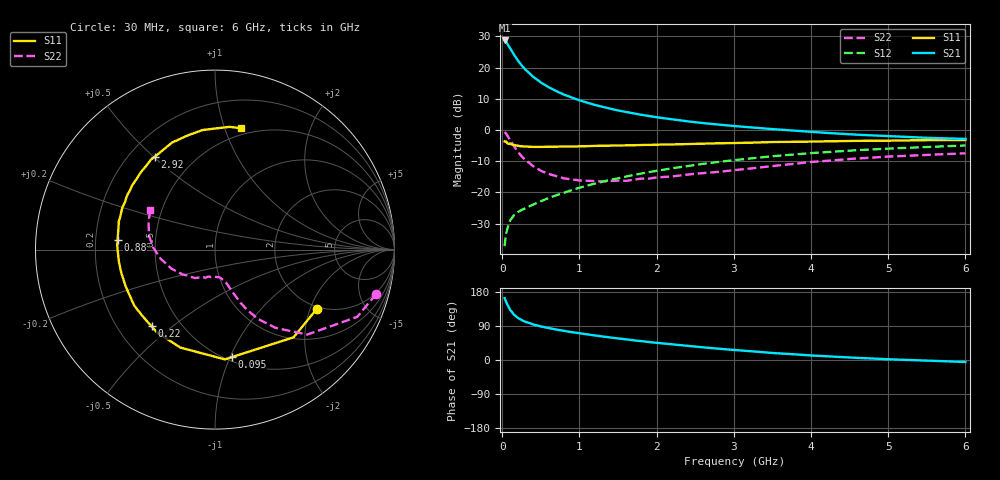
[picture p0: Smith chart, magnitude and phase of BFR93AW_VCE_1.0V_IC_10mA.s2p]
! Infineon Technologies  Discrete & RF Semiconductors
! BFR93AW
! VCE =  1.0 V,  IC =  10 mA
! Common Emitter S-Parameters:  Nov 2015
# GHz  S  MA  R  50
!  f  S11  S21  S12  S22
! GHz  MAG  ANG  MAG  ANG  MAG  ANG  MAG  ANG
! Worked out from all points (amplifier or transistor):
!   206 points, 30 MHz to 6 GHz, reference 50 ohm
!   highest |S21| = 28.7 dB at 30 MHz (marker M1)
!   |S21| within 3 dB of that: start of sweep to 114.9 MHz
!   unconditionally stable (mu >= 1): 687.2 MHz to 2.673 GHz
!   at 200 MHz: K = 0.50, MSG = 24.3 dB, |S12| = -26.3 dB
!   at 1.56 GHz: K = 1.08, MAG = 8.8 dB, |S12| = -15.1 dB
!   at 6 GHz: K = 0.97, MSG = 1.0 dB, |S12| = -4.9 dB
!   S11 on the Smith chart (normalised r, x): 30 MHz: 1.91, -2.22; 95 MHz: 0.53, -1.01; 220 MHz: 0.34, -0.42; 880 MHz: 0.30, +0.04; 2.92 GHz: 0.30, +0.50; 6 GHz: 0.44, +1.14
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0.03  0.6557 -30.4  27.21 163.2  0.0138 74.3  0.9315 -15.4
0.05  0.6563 -48.1  25.86 152.1  0.0221 68.4  0.8764 -25.3
0.095  0.6065 -81.2  21.08 134.6  0.034 58.6  0.7134 -40.5
0.1  0.6141 -84.9  20.7 132.2  0.0354 57.9  0.6992 -42.6
0.15  0.5789 -109.5  16.19 119.6  0.0431 50.5  0.5508 -52.3
0.2  0.5633 -124.9  13.1 111.2  0.0485 48.2  0.4515 -58.4
0.22  0.5545 -129.6  12.19 109.1  0.0501 48.2  0.4221 -59.7
0.26  0.5474 -138.6  10.54 104.4  0.0531 48.5  0.3689 -62.4
0.3  0.5475 -145.3  9.267 100.6  0.0561 49.4  0.3305 -64.3
0.4  0.5383 -157.5  7.106 93.7  0.0638 51.3  0.2635 -67.1
0.5  0.5378 -166.2  5.771 88.4  0.0725 53.6  0.2223 -69.5
0.6  0.5396 -172.3  4.847 84.1  0.0814 55.8  0.1982 -71.1
0.7  0.5412 -177.8  4.199 80.2  0.0902 57.8  0.182 -73.5
0.88  0.5451 174.4  3.378 74.2  0.1075 59.5  0.1632 -78.2
1.04  0.5492 168.5  2.886 69.3  0.123 60.6  0.1549 -83.2
1.5  0.567 155.4  2.056 56.9  0.1694 61.0  0.1552 -99.1
2.02  0.5839 142.1  1.59 44.8  0.2244 58.6  0.175 -115.9
2.92  0.6168 123.0  1.185 27.9  0.3208 51.4  0.2216 -140.6
3.1  0.622 119.4  1.133 25.0  0.339 49.5  0.2338 -145.6
4.1  0.6565 101.8  0.917 11.0  0.4353 38.5  0.314 -173.1
5.1  0.6778 88.0  0.788 1.2  0.5106 27.2  0.3797 165.9
6  0.6915 77.7  0.721 -5.2  0.5662 17.9  0.4245 148.3
